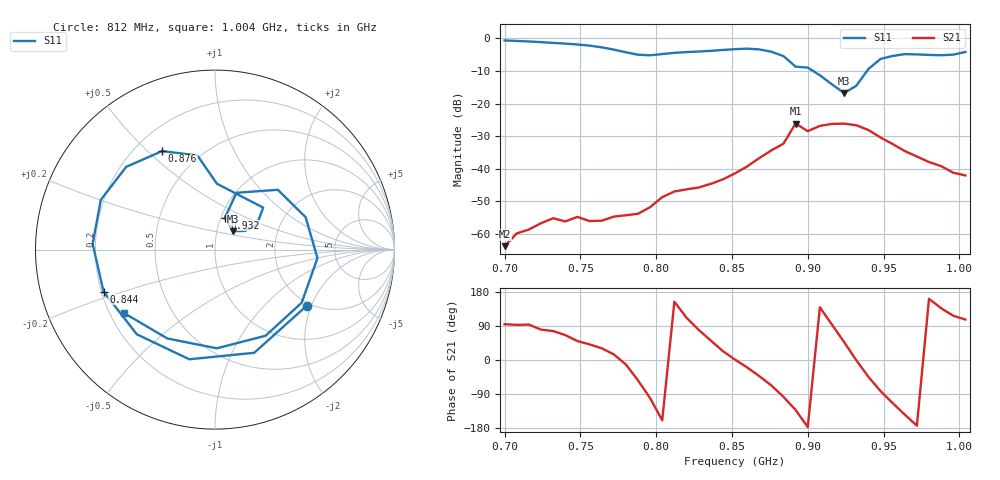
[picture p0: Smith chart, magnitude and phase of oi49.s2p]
# Hz S RI R 50
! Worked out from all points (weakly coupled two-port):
!   39 points, 700 MHz to 1.004 GHz, reference 50 ohm
!   highest |S21| = -26.12 dB at 892 MHz (marker M1); lowest = -63.7 dB at 700 MHz (marker M2)
!   lowest |S11| = -16.8 dB at 924 MHz (marker M3), VSWR 1.34, Z = 59.9 + j12.6 ohm
!   |S11| at or under -10 dB: 903.5 MHz to 939.1 MHz (35.58 MHz wide, 3.86 % of centre)
!   S12 and S22 are empty: the file has one direction only
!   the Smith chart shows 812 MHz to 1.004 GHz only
!   S11 on the Smith chart (normalised r, x): 812 MHz: 1.90, -1.85; 844 MHz: 0.21, -0.17; 876 MHz: 0.31, +0.56; 932 MHz: 1.05, +0.39; 1.004 GHz: 0.26, -0.30
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7e8  0.7613 0.5298  -5.13e-05 0.000647  0 0  0 0
7.24e8  0.8347 -0.2601  0.000249 0.00144  0 0  0 0
7.4e8  0.446 -0.6998  0.000638 0.00142  0 0  0 0
7.56e8  -0.1955 -0.7472  0.00119 0.00104  0 0  0 0
7.72e8  -0.6464 -0.1818  0.00178 0.000472  0 0  0 0
7.8e8  -0.5644 0.2339  0.0019 -0.000395  0 0  0 0
7.88e8  -0.2035 0.5225  0.00121 -0.00164  0 0  0 0
7.96e8  0.2705 0.4778  -0.000477 -0.00253  0 0  0 0
8.04e8  0.5617 0.1194  -0.00343 -0.0013  0 0  0 0
8.12e8  0.5101 -0.3136  -0.00402 0.00197  0 0  0 0
8.28e8  -0.1433 -0.6111  0.000933 0.00507  0 0  0 0
8.44e8  -0.6209 -0.234  0.0063 0.00273  0 0  0 0
8.52e8  -0.6815 0.0321  0.00849 0.000156  0 0  0 0
8.76e8  -0.2943 0.5488  0.00742 -0.0176  0 0  0 0
8.92e8  0.0108 0.3671  -0.033 -0.0367  0 0  0 0
9.08e8  0.2332 0.1392  -0.0343 0.0298  0 0  0 0
9.24e8  0.1021 0.103  0.0333 0.0361  0 0  0 0
9.32e8  0.0559 0.1785  0.0465 -0.000389  0 0  0 0
9.48e8  0.3498 0.3333  0.00422 -0.0299  0 0  0 0
9.56e8  0.5051 0.1805  -0.00958 -0.0219  0 0  0 0
9.8e8  0.2821 -0.4798  -0.012 0.004  0 0  0 0
1.004e9  -0.5069 -0.3535  -0.00229 0.00757  0 0  0 0
